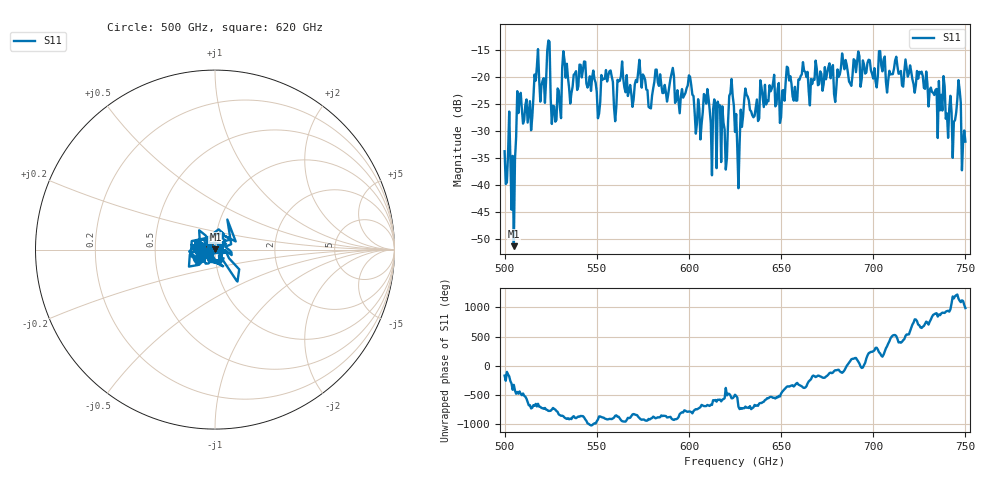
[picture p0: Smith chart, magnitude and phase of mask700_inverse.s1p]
!Created with skrf (http://scikit-rf.org).
# GHz S MA R 50.0
!freq magS11 angS11
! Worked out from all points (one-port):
!   401 points, 500 GHz to 750 GHz, reference 50 ohm
!   lowest |S11| = -51.3 dB at 505 GHz (marker M1), VSWR 1.01, Z = 50.2 + j0.144 ohm
!   |S11| at or under -10 dB: start of sweep to end of sweep
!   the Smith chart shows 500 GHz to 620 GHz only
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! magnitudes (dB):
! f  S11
! 500 GHz  -33.7
! 505 GHz  -51.3
! 508.1 GHz  -24.2
! 513.8 GHz  -24.5
! 517.5 GHz  -18.1
! 520.6 GHz  -20.6
! 523.8 GHz  -13.2
! 526.9 GHz  -25.4
! 531.2 GHz  -18.2
! 542.5 GHz  -18.7
! 550.6 GHz  -27.7
! 562.5 GHz  -20.7
! 590.6 GHz  -19.3
! 593.8 GHz  -22.5
! 600 GHz  -19.7
! 605 GHz  -24.1
! 609.4 GHz  -24.9
! 620 GHz  -37.1
! 623.1 GHz  -20.4
! 625 GHz  -30.2
! 626.2 GHz  -33.2
! 631.2 GHz  -23.3
! 656.2 GHz  -23.6
! 687.5 GHz  -21.2
! 718.8 GHz  -19.9
! 743.8 GHz  -28.3
! 746.2 GHz  -20.6
! 750 GHz  -32.0
